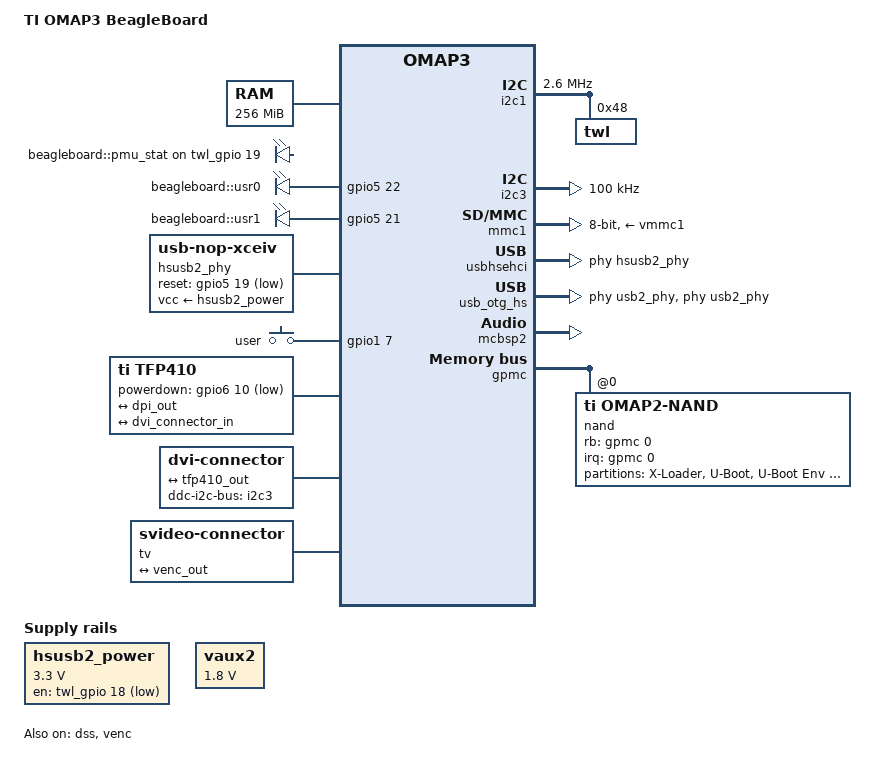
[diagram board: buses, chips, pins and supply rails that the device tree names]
/*
 * Copyright (C) 2012 Texas Instruments Incorporated - http://www.ti.com/
 *
 * This program is free software; you can redistribute it and/or modify
 * it under the terms of the GNU General Public License version 2 as
 * published by the Free Software Foundation.
 */
/dts-v1/;

#include "omap34xx.dtsi"

/ {
	model = "TI OMAP3 BeagleBoard";
	compatible = "ti,omap3-beagle", "ti,omap3";

	cpus {
		cpu@0 {
			cpu0-supply = <&vcc>;
		};
	};

	memory@80000000 {
		device_type = "memory";
		reg = <0x80000000 0x10000000>; /* 256 MB */
	};

	aliases {
		display0 = &dvi0;
		display1 = &tv0;
	};

	leds {
		compatible = "gpio-leds";
		pmu_stat {
			label = "beagleboard::pmu_stat";
			gpios = <&twl_gpio 19 GPIO_ACTIVE_HIGH>; /* LEDB */
		};

		heartbeat {
			label = "beagleboard::usr0";
			gpios = <&gpio5 22 GPIO_ACTIVE_HIGH>; /* 150 -> D6 LED */
			linux,default-trigger = "heartbeat";
		};

		mmc {
			label = "beagleboard::usr1";
			gpios = <&gpio5 21 GPIO_ACTIVE_HIGH>; /* 149 -> D7 LED */
			linux,default-trigger = "mmc0";
		};
	};

	/* HS USB Port 2 Power */
	hsusb2_power: hsusb2_power_reg {
		compatible = "regulator-fixed";
		regulator-name = "hsusb2_vbus";
		regulator-min-microvolt = <3300000>;
		regulator-max-microvolt = <3300000>;
		gpio = <&twl_gpio 18 GPIO_ACTIVE_HIGH>;	/* GPIO LEDA */
		startup-delay-us = <70000>;
	};

	/* HS USB Host PHY on PORT 2 */
	hsusb2_phy: hsusb2_phy {
		compatible = "usb-nop-xceiv";
		reset-gpios = <&gpio5 19 GPIO_ACTIVE_LOW>;	/* gpio_147 */
		vcc-supply = <&hsusb2_power>;
	};

	sound {
		compatible = "ti,omap-twl4030";
		ti,model = "omap3beagle";

		ti,mcbsp = <&mcbsp2>;
	};

	gpio_keys {
		compatible = "gpio-keys";

		user {
			label = "user";
			gpios = <&gpio1 7 GPIO_ACTIVE_HIGH>;
			linux,code = <0x114>;
			wakeup-source;
		};

	};

	tfp410: encoder0 {
		compatible = "ti,tfp410";
		powerdown-gpios = <&gpio6 10 GPIO_ACTIVE_LOW>;	/* gpio_170 */

		pinctrl-names = "default";
		pinctrl-0 = <&tfp410_pins>;

		ports {
			#address-cells = <1>;
			#size-cells = <0>;

			port@0 {
				reg = <0>;

				tfp410_in: endpoint {
					remote-endpoint = <&dpi_out>;
				};
			};

			port@1 {
				reg = <1>;

				tfp410_out: endpoint {
					remote-endpoint = <&dvi_connector_in>;
				};
			};
		};
	};

	dvi0: connector0 {
		compatible = "dvi-connector";
		label = "dvi";

		digital;

		ddc-i2c-bus = <&i2c3>;

		port {
			dvi_connector_in: endpoint {
				remote-endpoint = <&tfp410_out>;
			};
		};
	};

	tv0: connector1 {
		compatible = "svideo-connector";
		label = "tv";

		port {
			tv_connector_in: endpoint {
				remote-endpoint = <&venc_out>;
			};
		};
	};

	etb@540000000 {
		compatible = "arm,coresight-etb10", "arm,primecell";
		reg = <0x5401b000 0x1000>;

		clocks = <&emu_src_ck>;
		clock-names = "apb_pclk";
		port {
			etb_in: endpoint {
				slave-mode;
				remote-endpoint = <&etm_out>;
			};
		};
	};

	etm@54010000 {
		compatible = "arm,coresight-etm3x", "arm,primecell";
		reg = <0x54010000 0x1000>;

		clocks = <&emu_src_ck>;
		clock-names = "apb_pclk";
		port {
			etm_out: endpoint {
				remote-endpoint = <&etb_in>;
			};
		};
	};
};

&omap3_pmx_wkup {
	gpio1_pins: pinmux_gpio1_pins {
		pinctrl-single,pins = <
			OMAP3_WKUP_IOPAD(0x2a14, PIN_INPUT | PIN_OFF_WAKEUPENABLE | MUX_MODE4) /* sys_boot5.gpio_7 */
		>;
	};
};

&omap3_pmx_core {
	pinctrl-names = "default";
	pinctrl-0 = <
			&hsusb2_pins
	>;

	hsusb2_pins: pinmux_hsusb2_pins {
		pinctrl-single,pins = <
			OMAP3_CORE1_IOPAD(0x21d4, PIN_INPUT_PULLDOWN | MUX_MODE3)	/* mcspi1_cs3.hsusb2_data2 */
			OMAP3_CORE1_IOPAD(0x21d6, PIN_INPUT_PULLDOWN | MUX_MODE3)	/* mcspi2_clk.hsusb2_data7 */
			OMAP3_CORE1_IOPAD(0x21d8, PIN_INPUT_PULLDOWN | MUX_MODE3)	/* mcspi2_simo.hsusb2_data4 */
			OMAP3_CORE1_IOPAD(0x21da, PIN_INPUT_PULLDOWN | MUX_MODE3)	/* mcspi2_somi.hsusb2_data5 */
			OMAP3_CORE1_IOPAD(0x21dc, PIN_INPUT_PULLDOWN | MUX_MODE3)	/* mcspi2_cs0.hsusb2_data6 */
			OMAP3_CORE1_IOPAD(0x21de, PIN_INPUT_PULLDOWN | MUX_MODE3)	/* mcspi2_cs1.hsusb2_data3 */
		>;
	};

	uart3_pins: pinmux_uart3_pins {
		pinctrl-single,pins = <
			OMAP3_CORE1_IOPAD(0x219e, PIN_INPUT | PIN_OFF_WAKEUPENABLE | MUX_MODE0) /* uart3_rx_irrx.uart3_rx_irrx */
			OMAP3_CORE1_IOPAD(0x21a0, PIN_OUTPUT | MUX_MODE0) /* uart3_tx_irtx.uart3_tx_irtx */
		>;
	};

	tfp410_pins: pinmux_tfp410_pins {
		pinctrl-single,pins = <
			OMAP3_CORE1_IOPAD(0x21c6, PIN_OUTPUT | MUX_MODE4)	/* hdq_sio.gpio_170 */
		>;
	};

	dss_dpi_pins: pinmux_dss_dpi_pins {
		pinctrl-single,pins = <
			OMAP3_CORE1_IOPAD(0x20d4, PIN_OUTPUT | MUX_MODE0)   /* dss_pclk.dss_pclk */
			OMAP3_CORE1_IOPAD(0x20d6, PIN_OUTPUT | MUX_MODE0)   /* dss_hsync.dss_hsync */
			OMAP3_CORE1_IOPAD(0x20d8, PIN_OUTPUT | MUX_MODE0)   /* dss_vsync.dss_vsync */
			OMAP3_CORE1_IOPAD(0x20da, PIN_OUTPUT | MUX_MODE0)   /* dss_acbias.dss_acbias */
			OMAP3_CORE1_IOPAD(0x20dc, PIN_OUTPUT | MUX_MODE0)   /* dss_data0.dss_data0 */
			OMAP3_CORE1_IOPAD(0x20de, PIN_OUTPUT | MUX_MODE0)   /* dss_data1.dss_data1 */
			OMAP3_CORE1_IOPAD(0x20e0, PIN_OUTPUT | MUX_MODE0)   /* dss_data2.dss_data2 */
			OMAP3_CORE1_IOPAD(0x20e2, PIN_OUTPUT | MUX_MODE0)   /* dss_data3.dss_data3 */
			OMAP3_CORE1_IOPAD(0x20e4, PIN_OUTPUT | MUX_MODE0)   /* dss_data4.dss_data4 */
			OMAP3_CORE1_IOPAD(0x20e6, PIN_OUTPUT | MUX_MODE0)   /* dss_data5.dss_data5 */
			OMAP3_CORE1_IOPAD(0x20e8, PIN_OUTPUT | MUX_MODE0)   /* dss_data6.dss_data6 */
			OMAP3_CORE1_IOPAD(0x20ea, PIN_OUTPUT | MUX_MODE0)   /* dss_data7.dss_data7 */
			OMAP3_CORE1_IOPAD(0x20ec, PIN_OUTPUT | MUX_MODE0)   /* dss_data8.dss_data8 */
			OMAP3_CORE1_IOPAD(0x20ee, PIN_OUTPUT | MUX_MODE0)   /* dss_data9.dss_data9 */
			OMAP3_CORE1_IOPAD(0x20f0, PIN_OUTPUT | MUX_MODE0)   /* dss_data10.dss_data10 */
			OMAP3_CORE1_IOPAD(0x20f2, PIN_OUTPUT | MUX_MODE0)   /* dss_data11.dss_data11 */
			OMAP3_CORE1_IOPAD(0x20f4, PIN_OUTPUT | MUX_MODE0)   /* dss_data12.dss_data12 */
			OMAP3_CORE1_IOPAD(0x20f6, PIN_OUTPUT | MUX_MODE0)   /* dss_data13.dss_data13 */
			OMAP3_CORE1_IOPAD(0x20f8, PIN_OUTPUT | MUX_MODE0)   /* dss_data14.dss_data14 */
			OMAP3_CORE1_IOPAD(0x20fa, PIN_OUTPUT | MUX_MODE0)   /* dss_data15.dss_data15 */
			OMAP3_CORE1_IOPAD(0x20fc, PIN_OUTPUT | MUX_MODE0)   /* dss_data16.dss_data16 */
			OMAP3_CORE1_IOPAD(0x20fe, PIN_OUTPUT | MUX_MODE0)   /* dss_data17.dss_data17 */
			OMAP3_CORE1_IOPAD(0x2100, PIN_OUTPUT | MUX_MODE0)   /* dss_data18.dss_data18 */
			OMAP3_CORE1_IOPAD(0x2102, PIN_OUTPUT | MUX_MODE0)   /* dss_data19.dss_data19 */
			OMAP3_CORE1_IOPAD(0x2104, PIN_OUTPUT | MUX_MODE0)   /* dss_data20.dss_data20 */
			OMAP3_CORE1_IOPAD(0x2106, PIN_OUTPUT | MUX_MODE0)   /* dss_data21.dss_data21 */
			OMAP3_CORE1_IOPAD(0x2108, PIN_OUTPUT | MUX_MODE0)   /* dss_data22.dss_data22 */
			OMAP3_CORE1_IOPAD(0x210a, PIN_OUTPUT | MUX_MODE0)   /* dss_data23.dss_data23 */
		>;
	};
};

&omap3_pmx_core2 {
	pinctrl-names = "default";
	pinctrl-0 = <
			&hsusb2_2_pins
	>;

	hsusb2_2_pins: pinmux_hsusb2_2_pins {
		pinctrl-single,pins = <
			OMAP3430_CORE2_IOPAD(0x25f0, PIN_OUTPUT | MUX_MODE3)		/* etk_d10.hsusb2_clk */
			OMAP3430_CORE2_IOPAD(0x25f2, PIN_OUTPUT | MUX_MODE3)		/* etk_d11.hsusb2_stp */
			OMAP3430_CORE2_IOPAD(0x25f4, PIN_INPUT_PULLDOWN | MUX_MODE3)	/* etk_d12.hsusb2_dir */
			OMAP3430_CORE2_IOPAD(0x25f6, PIN_INPUT_PULLDOWN | MUX_MODE3)	/* etk_d13.hsusb2_nxt */
			OMAP3430_CORE2_IOPAD(0x25f8, PIN_INPUT_PULLDOWN | MUX_MODE3)	/* etk_d14.hsusb2_data0 */
			OMAP3430_CORE2_IOPAD(0x25fa, PIN_INPUT_PULLDOWN | MUX_MODE3)	/* etk_d15.hsusb2_data1 */
		>;
	};
};

&i2c1 {
	clock-frequency = <2600000>;

	twl: twl@48 {
		reg = <0x48>;
		interrupts = <7>; /* SYS_NIRQ cascaded to intc */
		interrupt-parent = <&intc>;

		twl_audio: audio {
			compatible = "ti,twl4030-audio";
			codec {
			};
		};
	};
};

#include "twl4030.dtsi"
#include "twl4030_omap3.dtsi"

&i2c3 {
	clock-frequency = <100000>;
};

&mmc1 {
	vmmc-supply = <&vmmc1>;
	vqmmc-supply = <&vsim>;
	bus-width = <8>;
};

&mmc2 {
	status = "disabled";
};

&mmc3 {
	status = "disabled";
};

&usbhshost {
	port2-mode = "ehci-phy";
};

&usbhsehci {
	phys = <0 &hsusb2_phy>;
};

&twl_gpio {
	ti,use-leds;
	/* pullups: BIT(1) */
	ti,pullups = <0x000002>;
	/*
	 * pulldowns:
	 * BIT(2), BIT(6), BIT(7), BIT(8), BIT(13)
	 * BIT(15), BIT(16), BIT(17)
	 */
	ti,pulldowns = <0x03a1c4>;
};

&uart3 {
	pinctrl-names = "default";
	pinctrl-0 = <&uart3_pins>;
	interrupts-extended = <&intc 74 &omap3_pmx_core OMAP3_UART3_RX>;
};

&gpio1 {
	pinctrl-names = "default";
	pinctrl-0 = <&gpio1_pins>;
};

&usb_otg_hs {
	interface-type = <0>;
	usb-phy = <&usb2_phy>;
	phys = <&usb2_phy>;
	phy-names = "usb2-phy";
	mode = <3>;
	power = <50>;
};

&vaux2 {
	regulator-name = "vdd_ehci";
	regulator-min-microvolt = <1800000>;
	regulator-max-microvolt = <1800000>;
	regulator-always-on;
};

&mcbsp2 {
	status = "okay";
};

/* Needed to power the DPI pins */
&vpll2 {
	regulator-always-on;
};

&dss {
	status = "ok";

	pinctrl-names = "default";
	pinctrl-0 = <&dss_dpi_pins>;

	port {
		dpi_out: endpoint {
			remote-endpoint = <&tfp410_in>;
			data-lines = <24>;
		};
	};
};

&venc {
	status = "ok";

	vdda-supply = <&vdac>;

	port {
		venc_out: endpoint {
			remote-endpoint = <&tv_connector_in>;
			ti,channels = <2>;
		};
	};
};

&gpmc {
	status = "ok";
	ranges = <0 0 0x30000000 0x1000000>;	/* CS0 space, 16MB */

	/* Chip select 0 */
	nand@0,0 {
		compatible = "ti,omap2-nand";
		reg = <0 0 4>;		/* NAND I/O window, 4 bytes */
		interrupt-parent = <&gpmc>;
		interrupts = <0 IRQ_TYPE_NONE>, /* fifoevent */
			     <1 IRQ_TYPE_NONE>;	/* termcount */
		ti,nand-ecc-opt = "ham1";
		rb-gpios = <&gpmc 0 GPIO_ACTIVE_HIGH>; /* gpmc_wait0 */
		nand-bus-width = <16>;
		#address-cells = <1>;
		#size-cells = <1>;

		gpmc,device-width = <2>;
		gpmc,cs-on-ns = <0>;
		gpmc,cs-rd-off-ns = <36>;
		gpmc,cs-wr-off-ns = <36>;
		gpmc,adv-on-ns = <6>;
		gpmc,adv-rd-off-ns = <24>;
		gpmc,adv-wr-off-ns = <36>;
		gpmc,oe-on-ns = <6>;
		gpmc,oe-off-ns = <48>;
		gpmc,we-on-ns = <6>;
		gpmc,we-off-ns = <30>;
		gpmc,rd-cycle-ns = <72>;
		gpmc,wr-cycle-ns = <72>;
		gpmc,access-ns = <54>;
		gpmc,wr-access-ns = <30>;

		partition@0 {
			label = "X-Loader";
			reg = <0 0x80000>;
		};
		partition@80000 {
			label = "U-Boot";
			reg = <0x80000 0x1e0000>;
		};
		partition@1c0000 {
			label = "U-Boot Env";
			reg = <0x260000 0x20000>;
		};
		partition@280000 {
			label = "Kernel";
			reg = <0x280000 0x400000>;
		};
		partition@780000 {
			label = "Filesystem";
			reg = <0x680000 0xf980000>;
		};
	};
};
